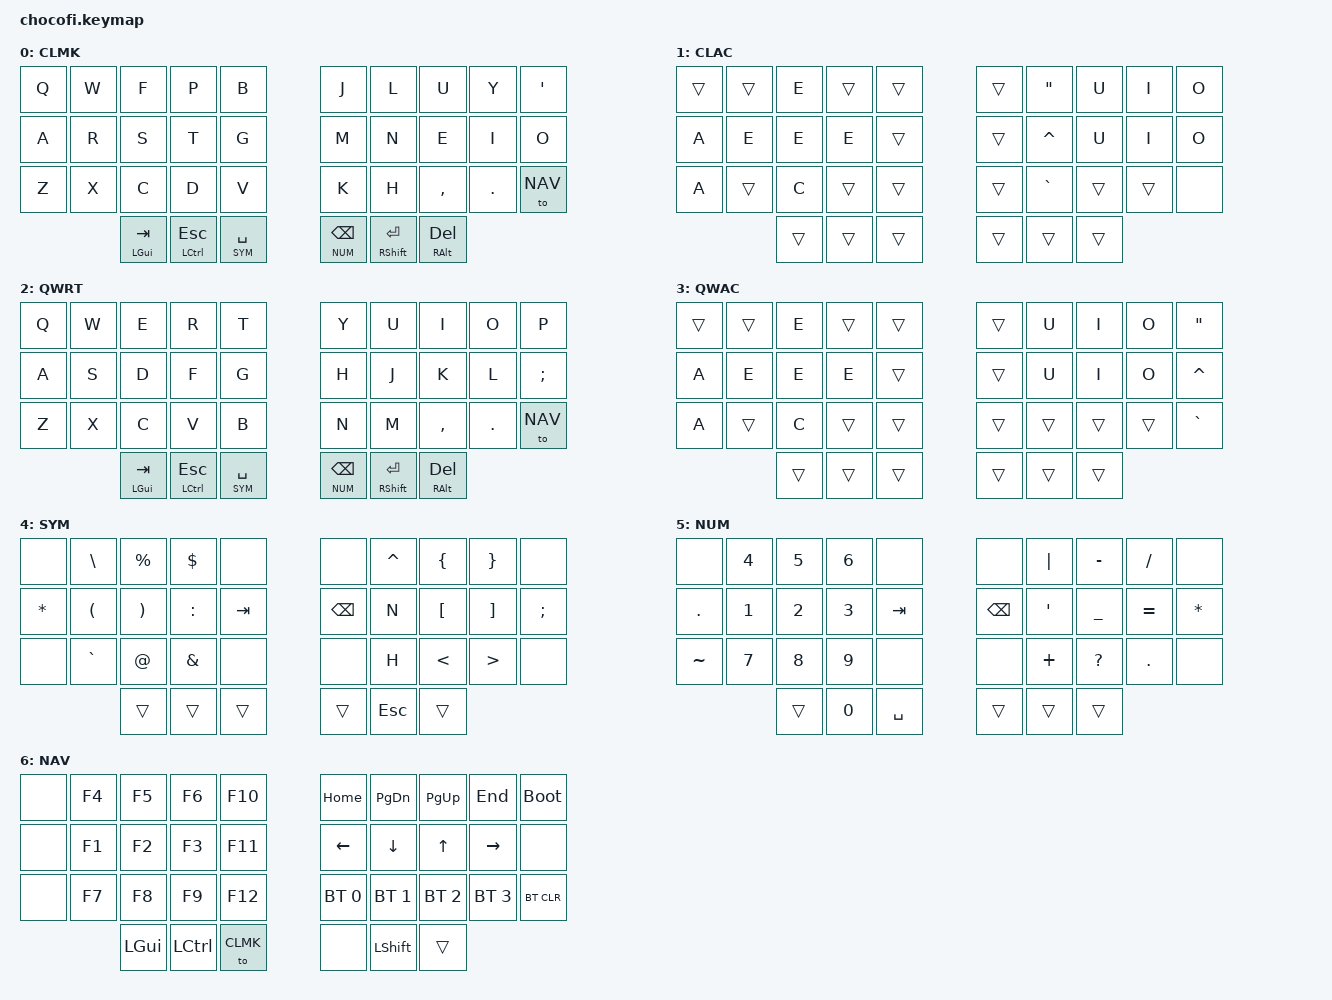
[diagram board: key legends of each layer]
/*
*  zmk keymap for 3x5 / 36 keys
*  
* Vincent Pfister
*
*/

#include <behaviors.dtsi>
#include <dt-bindings/zmk/keys.h>
#include <dt-bindings/zmk/bt.h>

#define CLMK 0
#define CLAC 1
#define QWRT 2
#define QWAC 3
#define SYM 4
#define NUM 5
#define NAV 6
#define FUN 7


/ {
    chosen {
        // zmk,matrix_transform = &default_transform;
        zmk,matrix_transform = &five_column_transform;
    };
};

/ {
    keymap {
        compatible = "zmk,keymap";

        colemak_layer {
            display-name = "CLMK";
// |-------|-------|-------|-------|-------|     |-------|-------|-------|-------|-------|
// |   Q   |   W   |   F   |   P   |   B   |     |   J   |   L   |   U   |   Y   |   '   |
// |       |       |       |       |       |     |       |       |       |       |       |
// |-------|-------|-------|-------|-------|     |-------|-------|-------|-------|-------|
// |   A   |   R   |   S   |   T   |   G   |     |   M   |   N   |   E   |   I   |   O   |
// |       |       |       |       |       |     |       |       |       |       |       |
// |-------|-------|-------|-------|-------|     |-------|-------|-------|-------|-------|
// |   Z   |   X   |   C   |   D   |   V   |     |   K   |   H   |   ,   |   .   | >NAV  |
// |       |       |       |       |       |     |       |       |       |       |       |
// |-------|-------|-------|-------|-------|     |-------|-------|-------|-------|-------|
//                 |  TAB  |  ESC  |  SPC  |     |  BSPC |  RET  |  DEL  |
//                 |  gui  |  ctrl | /sym  |     | /num  | rshft |  ralt |                 
//                 |-------|-------|-------|     |-------|-------|-------|                
            bindings = <
&kp Q       &kp W       &kp F           &kp P           &kp B               &kp J           &kp L           &kp U           &kp Y       &kp SQT  
&kp A       &kp R       &kp S           &kp T           &kp G               &kp M           &kp N           &kp E           &kp I       &kp O 
&kp Z       &kp X       &kp C           &kp D           &kp V               &kp K           &kp H           &kp COMMA       &kp DOT     &to NAV
                        &mt LGUI TAB    &mt LCTRL ESC   &lt SYM SPACE       &lt NUM BSPC    &mt RSHFT RET   &mt RALT DEL
            >;
        };

        colemak_accents_layer {
            display-name = "CLAC";
// |-------|-------|-------|-------|-------|     |-------|-------|-------|-------|-------|
// |       |       |   ë   |       |       |     |       |   "   |   ü   |   ï   |   ö   |
// |       |       |       |       |       |     |       |       |       |       |       |
// |-------|-------|-------|-------|-------|     |-------|-------|-------|-------|-------|
// |   à   |   ê   |   é   |   è   |       |     |       |   ^   |   û   |   î   |   ô   |
// |       |       |       |       |       |     |       |       |       |       |       |
// |-------|-------|-------|-------|-------|     |-------|-------|-------|-------|-------|
// |   â   |       |   ç   |       |       |     |       |   `   |       |       |       |
// |       |       |       |       |       |     |       |       |       |       |       |
// |-------|-------|-------|-------|-------|     |-------|-------|-------|-------|-------|
//                 |       |       |       |     |       |       |       |
//                 |       |       |       |     |       |       |       |                 
//                 |-------|-------|-------|     |-------|-------|-------|                
            bindings = <
&trans      &trans      &kp E           &trans          &trans              &trans          &kp DQT         &kp U           &kp I       &kp O    
&kp A       &kp E       &kp E           &kp E           &trans              &trans          &kp CARET       &kp U           &kp I       &kp O 
&kp A       &trans      &kp C           &trans          &trans              &trans          &kp GRAVE       &trans          &trans      &none 
                        &trans          &trans          &trans              &trans          &trans          &trans      
            >;
        };

        qwerty_layer {
            display-name = "QWRT";
// |-------|-------|-------|-------|-------|     |-------|-------|-------|-------|-------|
// |   Q   |   W   |   E   |   R   |   T   |     |   y   |   U   |   I   |   O   |   P   |
// |       |       |       |       |       |     |       |       |       |       |       |
// |-------|-------|-------|-------|-------|     |-------|-------|-------|-------|-------|
// |   A   |   S   |   D   |   F   |   G   |     |   H   |   J   |   K   |   L   |   ;   |
// |       |       |       |       |       |     |       |       |       |       |       |
// |-------|-------|-------|-------|-------|     |-------|-------|-------|-------|-------|
// |   Z   |   X   |   C   |   V   |   B   |     |   N   |   M   |   ,   |   .   |  >NAV |
// |       |       |       |       |       |     |       |       |       |       |       |
// |-------|-------|-------|-------|-------|     |-------|-------|-------|-------|-------|
//                 |  TAB  |  ESC  |  SPC  |     |  BKSP |  ENT  |  DEL  |
//                 |  gui  |  ctrl | /sym  |     | /num  | shift |  alt  |                 
//                 |-------|-------|-------|     |-------|-------|-------|                
            bindings = <
&kp Q       &kp W       &kp E           &kp R           &kp T               &kp Y           &kp U           &kp I           &kp O       &kp P    
&kp A       &kp S       &kp D           &kp F           &kp G               &kp H           &kp J           &kp K           &kp L       &kp SEMI 
&kp Z       &kp X       &kp C           &kp V           &kp B               &kp N           &kp M           &kp COMMA       &kp DOT     &to NAV
                        &mt LGUI TAB    &mt LCTRL ESC   &lt SYM SPACE       &lt NUM BSPC    &mt RSHFT RET   &mt RALT DEL
            >;
        };

        qwerty_accents_layer {
            display-name = "QWAC";
// |-------|-------|-------|-------|-------|     |-------|-------|-------|-------|-------|
// |       |       |   ë   |       |       |     |       |   ü   |   ï   |   ö   |   "   |
// |       |       |       |       |       |     |       |       |       |       |       |
// |-------|-------|-------|-------|-------|     |-------|-------|-------|-------|-------|
// |   à   |   ê   |   é   |   è   |       |     |       |   û   |   î   |   ô   |   ^   |
// |       |       |       |       |       |     |       |       |       |       |       |
// |-------|-------|-------|-------|-------|     |-------|-------|-------|-------|-------|
// |   â   |       |   ç   |       |       |     |       |       |       |       |   `   |
// |       |       |       |       |       |     |       |       |       |       |       |
// |-------|-------|-------|-------|-------|     |-------|-------|-------|-------|-------|
//                 |       |       |       |     |       |       |       |
//                 |       |       |       |     |       |       |       |                 
//                 |-------|-------|-------|     |-------|-------|-------|                
            bindings = <
&trans      &trans      &kp E       &trans      &trans      &trans      &kp U           &kp I       &kp O       &kp DQT             
&kp A       &kp E       &kp E       &kp E       &trans      &trans      &kp U           &kp I       &kp O       &kp CARET           
&kp A       &trans      &kp C       &trans      &trans      &trans      &trans          &trans      &trans      &kp GRAVE           
                        &trans      &trans      &trans      &trans      &trans          &trans                      
            >;
        };

        symbol_layer {
            display-name = "SYM";
// |-------|-------|-------|-------|-------|     |-------|-------|-------|-------|-------|
// |       |   \   |   %   |   $   |       |     |       |   ^   |   {   |   }   |       |
// |       |       |       |       |       |     |       |       |       |       |       |
// |-------|-------|-------|-------|-------|     |-------|-------|-------|-------|-------|
// |   *   |   (   |   )   |   :   |  TAB  |     |  BKSP |   "   |   [   |   ]   |   ;   |
// |       |       |       |       |       |     |       |       |       |       |       |
// |-------|-------|-------|-------|-------|     |-------|-------|-------|-------|-------|
// |       |   `   |   @   |   &   |       |     |       |   #   |   <   |   >   |       |
// |       |       |       |       |       |     |       |       |       |       |       |
// |-------|-------|-------|-------|-------|     |-------|-------|-------|-------|-------|
//                 |       |       |  \/   |     |       |  ESC  |       |
//                 |       |       |  /\   |     |       |       |       |                 
//                 |-------|-------|-------|     |-------|-------|-------|                
            bindings = <
&none       &kp BSLH    &kp PRCNT       &kp DOLLAR      &none               &none           &kp CARET       &kp LEFT_BRACE      &kp RIGHT_BRACE     &none
&kp STAR    &kp LPAR    &kp RPAR        &kp COLON       &kp TAB             &kp BSPC        &kp N           &kp LEFT_BRACKET    &kp RIGHT_BRACKET   &kp SEMICOLON 
&none       &kp GRAVE   &kp AT          &kp AMPERSAND   &none               &none           &kp H           &kp LESS_THAN       &kp GREATER_THAN    &none
                        &trans          &trans          &trans              &trans          &kp ESC         &trans
            >;
        };

        num_layer {
            display-name = "NUM";
// |-------|-------|-------|-------|-------|     |-------|-------|-------|-------|-------|
// |       |   4   |   5   |   6   |       |     |       |   |   |   -   |   /   |       |
// |       |       |       |       |       |     |       |       |       |       |       |
// |-------|-------|-------|-------|-------|     |-------|-------|-------|-------|-------|
// |   .   |   1   |   2   |   3   |  TAB  |     |  BKSP |   '   |   _   |   =   |   *   |
// |       |       |       |       |       |     |       |       |       |       |       |
// |-------|-------|-------|-------|-------|     |-------|-------|-------|-------|-------|
// |   ~   |   7   |   8   |   9   |       |     |       |   +   |   ?   |   !   |       |
// |       |       |       |       |       |     |       |       |       |       |       |
// |-------|-------|-------|-------|-------|     |-------|-------|-------|-------|-------|
//                 |       |   0   |  SPC  |     |   \/  |       |       |
//                 |       |       |       |     |   /\  |       |       |                 
//                 |-------|-------|-------|     |-------|-------|-------|                
            bindings = <
&none       &kp N4      &kp N5          &kp N6          &none               &none           &kp PIPE        &kp MINUS       &kp SLASH   &none    
&kp PERIOD  &kp N1      &kp N2          &kp N3          &kp TAB             &kp BKSP        &kp APOS        &kp UNDERSCORE  &kp EQUAL   &kp STAR
&kp TILDE   &kp N7      &kp N8          &kp N9          &none               &none           &kp PLUS        &kp QUESTION    &kp DOT     &none    
                        &trans          &kp N0          &kp SPACE           &trans          &trans          &trans      
            >;
        };


        nav_layer {
            display-name = "NAV";
// |-------|-------|-------|-------|-------|     |-------|-------|-------|-------|-------|
// |       |   F4  |   F5  |   F6  |  F10  |     | HOME  |  PGDN | PGUP  |  END  | BLDR  |
// |       |       |       |       |       |     |       |       |       |       |       |
// |-------|-------|-------|-------|-------|     |-------|-------|-------|-------|-------|
// |       |   F1  |   F2  |   F3  |  F11  |     |   ←   |   ↓   |   ↑   |   →   |       |
// |       |       |       |       |       |     |       |       |       |       |       |
// |-------|-------|-------|-------|-------|     |-------|-------|-------|-------|-------|
// |       |   F7  |   F8  |   F9  |  F12  |     |  BT0  |  BT1  |  BT2  |  BT3  | BTCLR |
// |       |       |       |       |       |     |       |       |       |       |       |
// |-------|-------|-------|-------|-------|     |-------|-------|-------|-------|-------|
//                 |       |       | >CLMK |     |       |       |       |
//                 |  gui  |  ctrl |       |     |       | shift |  alt  |                 
//                 |-------|-------|-------|     |-------|-------|-------|                
            bindings = <
&none       &kp F4      &kp F5          &kp F6          &kp F10             &kp HOME        &kp PG_DN       &kp PG_UP       &kp END         &bootloader
&none       &kp F1      &kp F2          &kp F3          &kp F11             &kp LEFT        &kp DOWN        &kp UP          &kp RIGHT       &none   
&none       &kp F7      &kp F8          &kp F9          &kp F12             &bt BT_SEL 0    &bt BT_SEL 1    &bt BT_SEL 2    &bt BT_SEL 3    &bt BT_CLR
                        &kp LGUI        &kp LCTL        &to CLMK            &none           &kp LSHFT       &trans      
            >;
        };

    };
};
